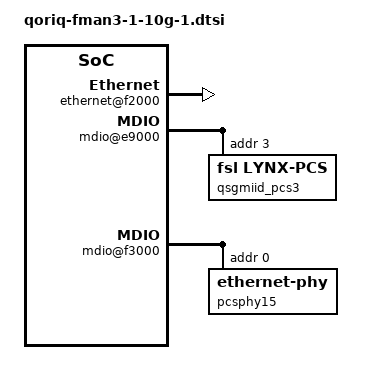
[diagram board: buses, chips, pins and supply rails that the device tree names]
fman@500000 {
	fman1_rx_0x11: port@91000 {
		cell-index = <0x11>;
		compatible = "fsl,fman-v3-port-rx";
		reg = <0x91000 0x1000>;
		fsl,fman-10g-port;
	};
	fman1_tx_0x31: port@b1000 {
		cell-index = <0x31>;
		compatible = "fsl,fman-v3-port-tx";
		reg = <0xb1000 0x1000>;
		fsl,fman-10g-port;
	};
	ethernet@f2000 {
		cell-index = <0x9>;
		compatible = "fsl,fman-memac";
		reg = <0xf2000 0x1000>;
		fsl,fman-ports = <&fman1_rx_0x11 &fman1_tx_0x31>;
		pcsphy-handle = <&pcsphy15>, <&qsgmiid_pcs3>, <&pcsphy15>;
		pcs-handle-names = "sgmii", "qsgmii", "xfi";
	};
	mdio@e9000 {
		qsgmiid_pcs3: ethernet-pcs@3 {
			compatible = "fsl,lynx-pcs";
			reg = <3>;
		};
	};
	mdio@f3000 {
		#address-cells = <1>;
		#size-cells = <0>;
		compatible = "fsl,fman-memac-mdio", "fsl,fman-xmdio";
		reg = <0xf3000 0x1000>;
		fsl,erratum-a011043;  
		pcsphy15: ethernet-phy@0 {
			reg = <0x0>;
		};
	};
};
